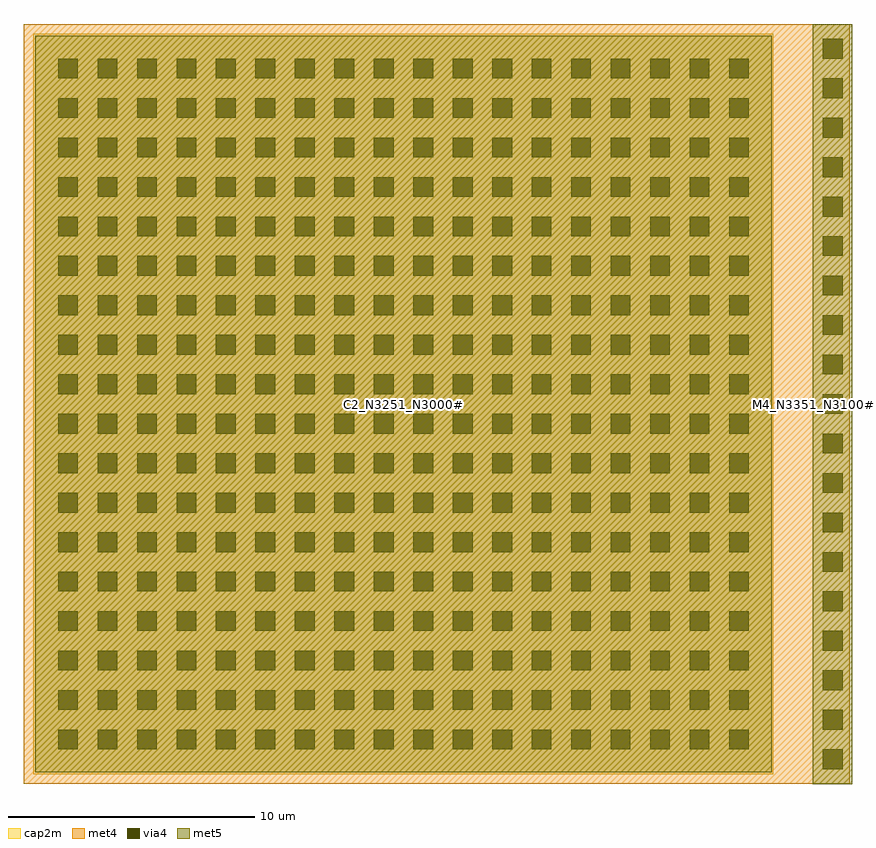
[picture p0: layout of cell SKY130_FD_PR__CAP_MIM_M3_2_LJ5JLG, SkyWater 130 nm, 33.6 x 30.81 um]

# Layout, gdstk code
import gdstk
lib = gdstk.Library(unit=1e-6, precision=1e-09)
def R(c, l, rs):  # rectangles x0, y0, x1, y1
    for r in rs: c.add(gdstk.rectangle(r[:2], r[2:], *l))
def A(c, l, x, y, w, h, nx, ny, dx, dy):  # array of equal rectangles
    R(c, l, [(x+i*dx, y+j*dy, x+i*dx+w, y+j*dy+h) for i in range(nx) for j in range(ny)])
met4 = (71, 20)
via4 = (71, 44)
met5 = (72, 20)
cap2m = (97, 44)

sky130_fd_pr__cap_mim_m3 = lib.new_cell('SKY130_FD_PR__CAP_MIM_M3_2_LJ5JLG')
R(sky130_fd_pr__cap_mim_m3, met4, [(-16.745,-15.4,16.745,15.4)])
A(sky130_fd_pr__cap_mim_m3, via4, 15.655, -14.8, 0.8, 0.8, 1, 19, 0, 1.6)
A(sky130_fd_pr__cap_mim_m3, via4, -15.345, -14, 0.8, 0.8, 18, 18, 1.6, 1.6)
R(sky130_fd_pr__cap_mim_m3, met5, [(15.255,-15.405,16.855,15.405), (-16.265,-14.92,13.575,14.92)])
R(sky130_fd_pr__cap_mim_m3, cap2m, [(-16.345,-15,13.655,15)])
sky130_fd_pr__cap_mim_m3.add(gdstk.Label('M4_N3351_N3100#', (16.055,0), layer=72, texttype=5))
sky130_fd_pr__cap_mim_m3.add(gdstk.Label('C2_N3251_N3000#', (-1.345,0), layer=72, texttype=5))

lib.write_gds('SKY130_FD_PR__CAP_MIM_M3_2_LJ5JLG.gds')
